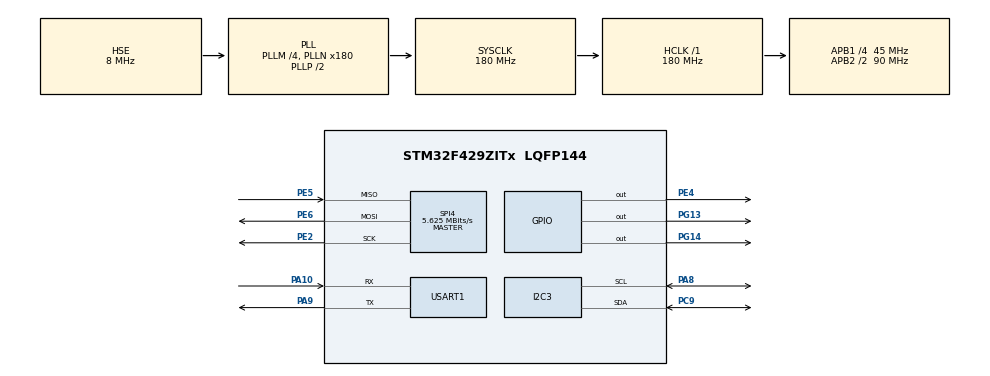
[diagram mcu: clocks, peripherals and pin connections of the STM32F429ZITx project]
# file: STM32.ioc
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I2C3.I2C_Mode=I2C_Fast
Mcu.Family=STM32F4
Mcu.Name=STM32F429ZITx
Mcu.Package=LQFP144
NVIC.PriorityGroup=NVIC_PRIORITYGROUP_4
NVIC.TIM6_DAC_IRQn=true\:0\:0\:false\:false\:true\:true\:true\:true
NVIC.USART1_IRQn=true\:0\:0\:false\:false\:true\:true\:true\:true
PA10.Mode=Asynchronous
PA10.Signal=USART1_RX
PA8.Mode=I2C
PA8.Signal=I2C3_SCL
PA9.Mode=Asynchronous
PA9.Signal=USART1_TX
PC9.Mode=I2C
PC9.Signal=I2C3_SDA
PE2.Mode=Full_Duplex_Master
PE2.Signal=SPI4_SCK
PE4.Signal=GPIO_Output
PE5.Mode=Full_Duplex_Master
PE5.Signal=SPI4_MISO
PE6.Mode=Full_Duplex_Master
PE6.Signal=SPI4_MOSI
PG13.Signal=GPIO_Output
PG14.Signal=GPIO_Output
PH0/OSC_IN.Mode=HSE-External-Oscillator
PH0/OSC_IN.Signal=RCC_OSC_IN
PH1/OSC_OUT.Mode=HSE-External-Oscillator
PH1/OSC_OUT.Signal=RCC_OSC_OUT
ProjectManager.HeapSize=0x400
ProjectManager.StackSize=0x800
ProjectManager.TargetToolchain=Makefile
RCC.48MHZClocksFreq_Value=90000000
RCC.AHBFreq_Value=180000000
RCC.APB1CLKDivider=RCC_HCLK_DIV4
RCC.APB1Freq_Value=45000000
RCC.APB1TimFreq_Value=90000000
RCC.APB2CLKDivider=RCC_HCLK_DIV2
RCC.APB2Freq_Value=90000000
RCC.APB2TimFreq_Value=180000000
RCC.CortexFreq_Value=180000000
RCC.HCLKFreq_Value=180000000
RCC.HSE_VALUE=8000000
RCC.HSI_VALUE=16000000
RCC.LSE_VALUE=32768
RCC.PLLM=4
RCC.PLLN=180
RCC.PLLSourceVirtual=RCC_PLLSOURCE_HSE
RCC.SYSCLKFreq_VALUE=180000000
RCC.SYSCLKSource=RCC_SYSCLKSOURCE_PLLCLK
RCC.VCOOutputFreq_Value=360000000
SPI4.BaudRatePrescaler=SPI_BAUDRATEPRESCALER_16
SPI4.CalculateBaudRate=5.625 MBits/s
SPI4.Direction=SPI_DIRECTION_2LINES
SPI4.Mode=SPI_MODE_MASTER
SPI4.VirtualType=VM_MASTER
TIM6.Period=999
TIM6.Prescaler=8999
USART1.VirtualMode=VM_ASYNC
VP_TIM6_VS_ClockSourceINT.Mode=Enable_Timer
board=custom

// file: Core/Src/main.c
/* USER CODE BEGIN Header */
/**
  ******************************************************************************
  * @file           : main.c
  * @brief          : Main program body
  ******************************************************************************
  * @attention
  *
  * Copyright (c) 2026 STMicroelectronics.
  * All rights reserved.
  *
  * This software is licensed under terms that can be found in the LICENSE file
  * in the root directory of this software component.
  * If no LICENSE file comes with this software, it is provided AS-IS.
  *
  ******************************************************************************
  */
/* USER CODE END Header */
#include "main.h"
#include "i2c.h"
#include "spi.h"
#include "tim.h"
#include "usart.h"
#include "gpio.h"

/* USER CODE BEGIN Includes */

#include <stdio.h>
#include <string.h>
#include "task.h"
#include "ds1307.h"
#include "SH1106.h"
#include "tm_stm32f4_mfrc522.h"

/* USER CODE END Includes */

/* USER CODE BEGIN PV */
char rx_buf[100];
uint8_t rx_idx = 0;
uint8_t rx_data;

// Flag flags
volatile uint8_t cmd_received = 0;
/* USER CODE END PV */

void SystemClock_Config(void);
/* USER CODE BEGIN PFP */
uint8_t hex2int(char c);
void ProcessCommand(char* cmd);
/* USER CODE END PFP */

int main(void)
{

  /* MCU Configuration--------------------------------------------------------*/

  /* Reset of all peripherals, Initializes the Flash interface and the Systick. */
  HAL_Init();

  /* Configure the system clock */
  SystemClock_Config();

  /* Initialize all configured peripherals */
  MX_GPIO_Init();
  MX_I2C3_Init();
  MX_USART1_UART_Init();
  MX_TIM6_Init();
  MX_SPI4_Init();
  /* USER CODE BEGIN 2 */
  Task_Init();

  // Start UART Receive Interrupt
  HAL_UART_Receive_IT(&huart1, &rx_data, 1);
  /* USER CODE END 2 */
  DS1307_Init();
  SH1106_Init();
  TM_MFRC522_Init();

  char buffer[30];
  // DS1307_TimeTypeDef setTime = { .sec = 10, .min = 15, .hour = 14, .day = 7, .month = 5, .year = 26, .date = 9};
  // DS1307_TimeTypeDef getTime;
  // SetTime(&setTime);

  uint8_t cardId[5];
  sprintf(buffer, "Hello");
  SH1106_GotoXY(12, 10);
  SH1106_Puts(buffer, &Font_11x18, 1);
  SH1106_UpdateScreen();

  // SH1106_Init();
  // DS1307_Init();
  // TM_MFRC522_Init();

  // char buffer[30];
  // uint8_t cardId[5];

  /* Infinite loop */
  /* USER CODE BEGIN WHILE */
  while (1)
  {
    // HAL_Delay(200);
    Task_Run();
    // GetTime(&getTime);
    // sprintf(buffer, "20%02d/%02d/%02d %02d:%02d:%02d\r\n", getTime.year, getTime.month, getTime.date, getTime.hour, getTime.min, getTime.sec);
    // sprintf(buffer, "20%02d/%02d/%02d ", getTime.year, getTime.month, getTime.date);
    // HAL_UART_Transmit(&huart1, (uint8_t*)buffer, strlen(buffer), 1000);

    // SH1106_GotoXY(5, 0);
    // SH1106_Puts(buffer, &Font_11x18, 1);

    // sprintf(buffer, "%02d:%02d:%02d", getTime.hour, getTime.min, getTime.sec);
    // SH1106_GotoXY(5, 20);
    // SH1106_Puts(buffer, &Font_11x18, 1);

    // SH1106_UpdateScreen();
    // HAL_Delay(1000);

    HAL_Delay(200);
    // HAL_GPIO_WritePin(GPIOG, GPIO_PIN_13 | GPIO_PIN_14, GPIO_PIN_RESET);
    // if (TM_MFRC522_Check(cardId) == MI_OK) {
    //   sprintf(buffer, "%x%x%x%x%x", cardId[0], cardId[1], cardId[2], cardId[3], cardId[4]);
    //   HAL_GPIO_WritePin(GPIOG, GPIO_PIN_13, GPIO_PIN_SET);
    // }
    // else {
    //   sprintf(buffer, "----------");
    //   HAL_GPIO_WritePin(GPIOG, GPIO_PIN_14, GPIO_PIN_SET);
    // }

    // HAL_UART_Transmit(&huart1, (uint8_t*)buffer, strlen(buffer), 1000);
    // SH1106_GotoXY(12, 10);
    // SH1106_Puts(buffer, &Font_11x18, 1);
    // SH1106_UpdateScreen();
    /* USER CODE END WHILE */

  }
}

void SystemClock_Config(void)
{
  RCC_OscInitTypeDef RCC_OscInitStruct = {0};
  RCC_ClkInitTypeDef RCC_ClkInitStruct = {0};

  /** Configure the main internal regulator output voltage
  */
  __HAL_RCC_PWR_CLK_ENABLE();
  __HAL_PWR_VOLTAGESCALING_CONFIG(PWR_REGULATOR_VOLTAGE_SCALE1);

  /** Initializes the RCC Oscillators according to the specified parameters
  * in the RCC_OscInitTypeDef structure.
  */
  RCC_OscInitStruct.OscillatorType = RCC_OSCILLATORTYPE_HSE;
  RCC_OscInitStruct.HSEState = RCC_HSE_ON;
  RCC_OscInitStruct.PLL.PLLState = RCC_PLL_ON;
  RCC_OscInitStruct.PLL.PLLSource = RCC_PLLSOURCE_HSE;
  RCC_OscInitStruct.PLL.PLLM = 4;
  RCC_OscInitStruct.PLL.PLLN = 180;
  RCC_OscInitStruct.PLL.PLLP = RCC_PLLP_DIV2;
  RCC_OscInitStruct.PLL.PLLQ = 4;
  if (HAL_RCC_OscConfig(&RCC_OscInitStruct) != HAL_OK)
  {
    Error_Handler();
  }

  /** Activate the Over-Drive mode
  */
  if (HAL_PWREx_EnableOverDrive() != HAL_OK)
  {
    Error_Handler();
  }

  /** Initializes the CPU, AHB and APB buses clocks
  */
  RCC_ClkInitStruct.ClockType = RCC_CLOCKTYPE_HCLK|RCC_CLOCKTYPE_SYSCLK
                              |RCC_CLOCKTYPE_PCLK1|RCC_CLOCKTYPE_PCLK2;
  RCC_ClkInitStruct.SYSCLKSource = RCC_SYSCLKSOURCE_PLLCLK;
  RCC_ClkInitStruct.AHBCLKDivider = RCC_SYSCLK_DIV1;
  RCC_ClkInitStruct.APB1CLKDivider = RCC_HCLK_DIV4;
  RCC_ClkInitStruct.APB2CLKDivider = RCC_HCLK_DIV2;

  if (HAL_RCC_ClockConfig(&RCC_ClkInitStruct, FLASH_LATENCY_5) != HAL_OK)
  {
    Error_Handler();
  }
}

/* USER CODE BEGIN 4 */

void HAL_UART_RxCpltCallback(UART_HandleTypeDef *huart)
{
    if (huart->Instance == USART1)
    {
    if (!cmd_received)
    {
      if (rx_data == '\r' || rx_data == '\n')
      {
        rx_buf[rx_idx] = '\0';
        cmd_received = 1;
      }
      else if (rx_idx < sizeof(rx_buf) - 1)
      {
        rx_buf[rx_idx++] = rx_data;
      }
    }

      HAL_UART_Receive_IT(&huart1, &rx_data, 1);
    }
}

/* USER CODE END 4 */

void Error_Handler(void)
{
  __disable_irq();
  while (1)
  {
  }
}
